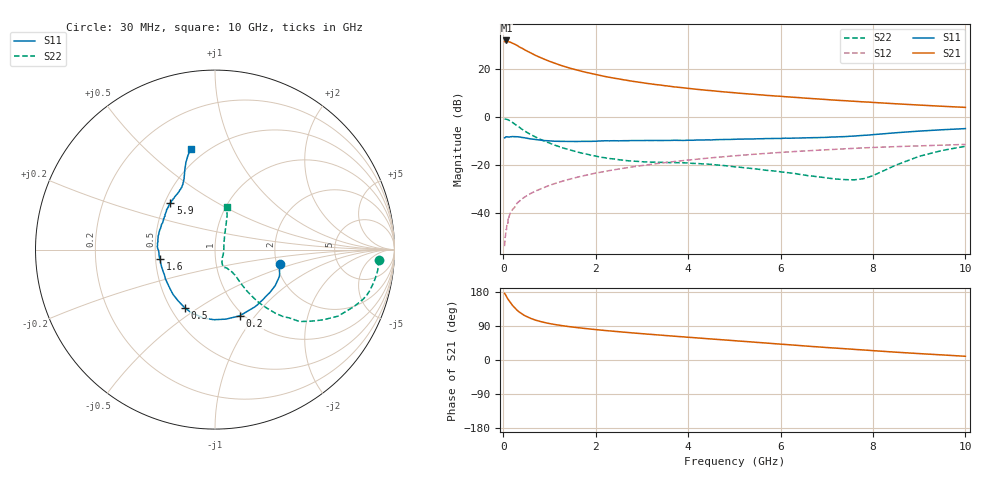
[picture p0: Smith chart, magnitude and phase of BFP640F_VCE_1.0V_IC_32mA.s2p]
! Infineon Technologies  Discrete & RF Semiconductors
! BFP640F
! VCE =  1.0 V,  IC =  32 mA
! Common Emitter S-Parameters:  Apr 2013
# GHz  S  MA  R  50
!  f  S11  S21  S12  S22
! GHz  MAG  ANG  MAG  ANG  MAG  ANG  MAG  ANG
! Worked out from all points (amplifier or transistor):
!   99 points, 30 MHz to 10 GHz, reference 50 ohm
!   highest |S21| = 32.2 dB at 70 MHz (marker M1)
!   |S21| within 3 dB of that: start of sweep to 378.8 MHz
!   unconditionally stable (mu >= 1): 1.399 GHz to end of sweep
!   at 350 MHz: K = 0.55, MSG = 32.3 dB, |S12| = -35.1 dB
!   at 3.5 GHz: K = 1.08, MAG = 14.4 dB, |S12| = -19.0 dB
!   at 10 GHz: K = 1.06, MAG = 6.3 dB, |S12| = -11.4 dB
!   S11 on the Smith chart (normalised r, x): 30 MHz: 2.09, -0.39; 200 MHz: 0.96, -0.84; 500 MHz: 0.59, -0.44; 1.6 GHz: 0.53, -0.06; 5.9 GHz: 0.53, +0.32; 10 GHz: 0.42, +0.70
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0.03  0.3718 -12.4  38.4 175.7  0.002 84.8  0.9131 -3.6
0.05  0.3839 -20.3  40.14 172.2  0.0033 51.2  0.914 -7.2
0.07  0.389 -27.0  40.55 167.6  0.0044 81.2  0.9071 -10.2
0.11  0.3852 -42.3  38.61 159.3  0.0081 73.7  0.8823 -16.8
0.15  0.3888 -55.4  37.48 152.7  0.0097 75.3  0.8346 -22.5
0.2  0.3939 -69.6  35.51 144.2  0.0117 72.2  0.7795 -28.4
0.25  0.3922 -81.0  33.83 137.7  0.0131 68.2  0.7184 -33.0
0.3  0.3906 -90.7  31.85 131.4  0.0159 69.1  0.6662 -36.8
0.35  0.3875 -99.1  29.59 126.3  0.0175 66.9  0.6183 -40.4
0.5  0.3653 -117.4  24.73 115.1  0.0225 66.1  0.491 -46.4
0.7  0.3419 -133.3  19.71 105.2  0.0286 66.3  0.3858 -50.3
0.9  0.3248 -144.5  16.27 98.8  0.0343 67.0  0.3134 -51.9
1.2  0.3134 -157.5  12.65 92.0  0.0434 67.5  0.2448 -52.6
1.6  0.3109 -169.9  9.722 85.5  0.0555 66.8  0.1881 -52.2
1.7  0.3128 -172.6  9.163 84.1  0.0585 66.7  0.1775 -52.0
2.4  0.3227 173.5  6.58 75.7  0.0795 64.4  0.134 -56.0
3.4  0.3257 158.7  4.718 65.7  0.1092 59.6  0.1138 -61.6
5.1  0.3492 140.6  3.189 50.0  0.1585 49.9  0.0904 -63.4
5.9  0.3607 133.5  2.782 42.8  0.1808 44.9  0.0744 -57.9
6.7  0.374 125.0  2.454 35.5  0.2013 39.6  0.0585 -43.9
8.5  0.4741 110.8  1.914 20.6  0.2428 27.8  0.1 57.1
10  0.5787 103.3  1.61 9.8  0.27 19.1  0.247 74.7
